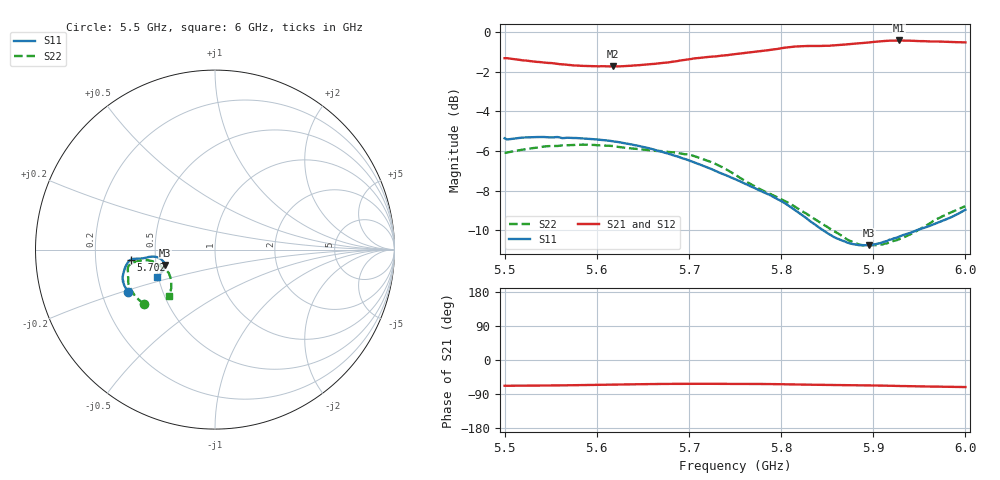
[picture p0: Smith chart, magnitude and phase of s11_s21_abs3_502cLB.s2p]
! MS46122B
! 1919307/90821646
! 7/29/2022 12:31:12 PM
! C:\USERS\PC_\DESKTOP\MEDICIONES\BANCHA ESTRECHA\55_6GHZ\S11_S21_ABS3_502CL.S2P
! CHANNEL.1
! TR.MEASUREMENT
! CORRECTED.DATA
# GHZ S RI R 50.0
! FREQ.GHZ  S11RE  S11IM  S21RE  S21IM  S12RE  S12IM  S22RE  S22IM
!; PortSelection: Port_12
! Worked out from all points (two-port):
!   201 points, 5.5 GHz to 6 GHz, reference 50 ohm
!   highest |S21| = -0.43 dB at 5.928 GHz (marker M1); lowest = -1.7 dB at 5.617 GHz (marker M2)
!   |S21| within 3 dB of the highest: start of sweep to end of sweep
!   lowest |S11| = -10.8 dB at 5.895 GHz (marker M3), VSWR 1.82, Z = 28 - j5.26 ohm
!   |S11| at or under -10 dB: 5.846 GHz to 5.947 GHz (101.3 MHz wide, 1.72 % of centre)
!   |S22| runs from -10.8 to -5.7 dB; largest |S21 - S12| = 0.017
!   S11 on the Smith chart (normalised r, x): 5.5 GHz: 0.31, -0.21; 5.702 GHz: 0.36, -0.05; 6 GHz: 0.49, -0.17
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5.5  -0.4862 -0.2335  0.3222 -0.7958  0.33 -0.792  -0.3938 -0.301
5.52  -0.4972 -0.215  0.3215 -0.7842  0.3269 -0.7767  -0.416 -0.2866
5.545  -0.5088 -0.1897  0.3226 -0.7715  0.3309 -0.7622  -0.4466 -0.2565
5.585  -0.5147 -0.1598  0.3303 -0.7518  0.3426 -0.7429  -0.4775 -0.2056
5.6175  -0.5119 -0.1378  0.3472 -0.7411  0.3587 -0.7339  -0.4842 -0.1778
5.6675  -0.4934 -0.0855  0.3745 -0.7445  0.3863 -0.7375  -0.4858 -0.123
5.7025  -0.4686 -0.0569  0.3905 -0.7602  0.4014 -0.7545  -0.4807 -0.0896
5.725  -0.4477 -0.0513  0.395 -0.7711  0.4072 -0.7683  -0.4632 -0.0751
5.75  -0.4227 -0.0501  0.3975 -0.7842  0.4073 -0.7802  -0.4323 -0.0644
5.7925  -0.3802 -0.0443  0.4007 -0.8103  0.4129 -0.8044  -0.3818 -0.059
5.8225  -0.3436 -0.0389  0.3924 -0.8325  0.4009 -0.8292  -0.3478 -0.0646
5.825  -0.3403 -0.0393  0.3895 -0.8346  0.4042 -0.8285  -0.3443 -0.0673
5.835  -0.3266 -0.0413  0.3837 -0.8375  0.3946 -0.8339  -0.3313 -0.0731
5.8675  -0.2903 -0.0635  0.3744 -0.8499  0.385 -0.8431  -0.286 -0.1037
5.8825  -0.2805 -0.076  0.3727 -0.8572  0.3844 -0.8503  -0.2667 -0.12
5.895  -0.2768 -0.0861  0.3684 -0.8653  0.3775 -0.8599  -0.2555 -0.1337
5.9175  -0.2812 -0.1027  0.3575 -0.8805  0.3638 -0.8756  -0.2477 -0.1599
5.9275  -0.2846 -0.108  0.3515 -0.8844  0.3506 -0.8812  -0.2456 -0.1722
5.93  -0.2859 -0.1099  0.3438 -0.8867  0.3551 -0.8802  -0.245 -0.1759
5.935  -0.2875 -0.1127  0.3428 -0.8866  0.3452 -0.8824  -0.2444 -0.1822
5.97  -0.3027 -0.1327  0.3186 -0.8907  0.3218 -0.8802  -0.2473 -0.2311
6  -0.3212 -0.1543  0.3002 -0.8921  0.3128 -0.884  -0.2587 -0.2558
